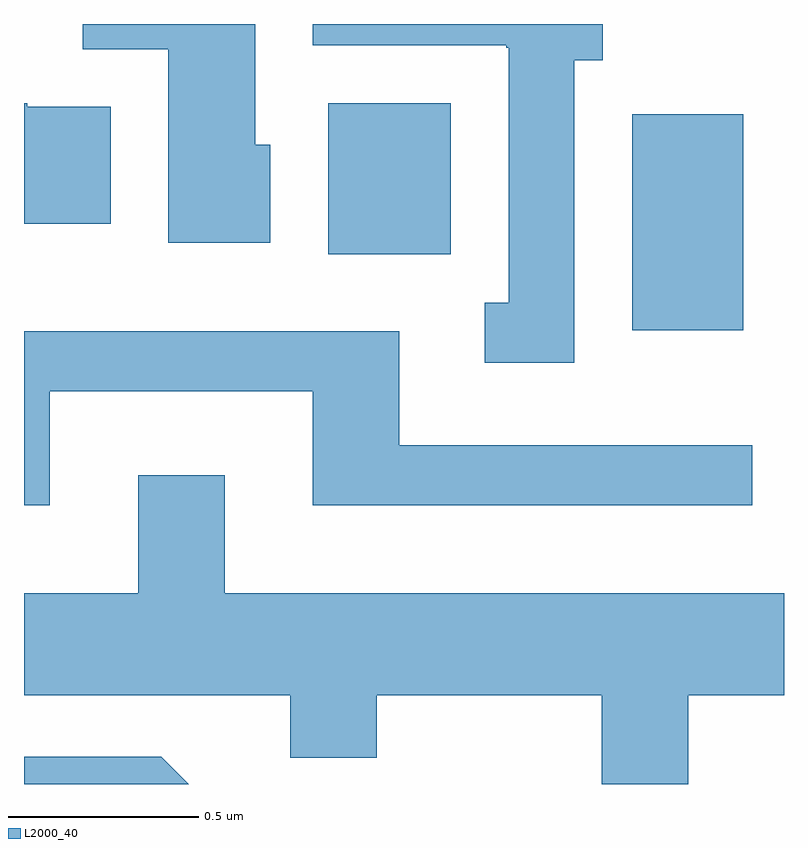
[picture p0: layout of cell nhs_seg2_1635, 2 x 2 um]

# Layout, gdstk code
import gdstk
lib = gdstk.Library(unit=1e-6, precision=1e-09)
def R(c, l, rs):  # rectangles x0, y0, x1, y1
    for r in rs: c.add(gdstk.rectangle(r[:2], r[2:], *l))
def P(c, l, *ps):  # polygons
    for p in ps: c.add(gdstk.Polygon(p, *l))
L2000_40 = (2000, 40)

nhs_seg2_1635 = lib.new_cell('nhs_seg2_1635')
R(nhs_seg2_1635, L2000_40, [(198.211,1106.996,198.504,1107.564), (197.411,1107.196,197.734,1107.594)])
P(nhs_seg2_1635, L2000_40, [(197.259,1107.484),(197.219,1107.484),(197.219,1107.802),(196.766,1107.802),(196.766,1107.736),(196.991,1107.736),(196.991,1107.226),(197.259,1107.226)],
  [(198.059,1107.706),(198.134,1107.706),(198.134,1107.802),(197.371,1107.802),(197.371,1107.746),(197.88,1107.746),(197.88,1107.74),(197.886,1107.74),(197.886,1107.069),(197.823,1107.069),(197.823,1106.911),(198.059,1106.911)],
  [(196.839,1107.584),(196.62,1107.584),(196.62,1107.594),(196.611,1107.594),(196.611,1107.276),(196.839,1107.276)],
  [(196.679,1106.836),(197.371,1106.836),(197.371,1106.536),(198.528,1106.536),(198.528,1106.694),(197.599,1106.694),(197.599,1106.994),(196.611,1106.994),(196.611,1106.536),(196.679,1106.536)],
  [(198.359,1106.036),(198.611,1106.036),(198.611,1106.304),(197.139,1106.304),(197.139,1106.614),(196.911,1106.614),(196.911,1106.304),(196.611,1106.304),(196.611,1106.036),(197.311,1106.036),(197.311,1105.871),(197.539,1105.871),(197.539,1106.036),(198.131,1106.036),(198.131,1105.802),(198.359,1105.802)],
  [(196.972,1105.874),(196.611,1105.874),(196.611,1105.802),(197.044,1105.802)])

lib.write_gds('nhs_seg2_1635.gds')
